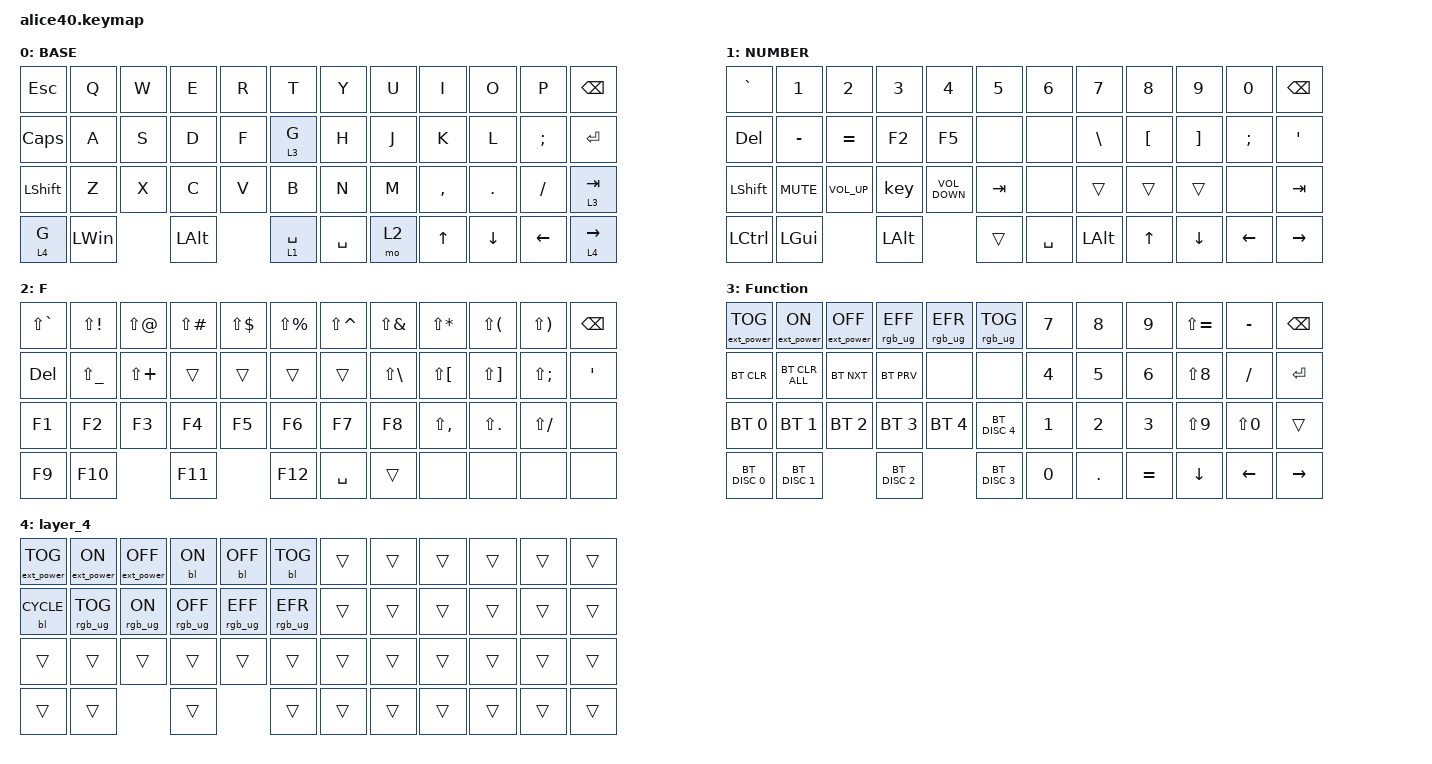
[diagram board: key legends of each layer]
#include <behaviors.dtsi>
#include <dt-bindings/zmk/backlight.h>
#include <dt-bindings/zmk/bt.h>
#include <dt-bindings/zmk/ext_power.h>
#include <dt-bindings/zmk/keys.h>
#include <dt-bindings/zmk/rgb.h>

/ {
    combos {
        compatible = "zmk,combos";

        home {
            bindings = <&none>;
            key-positions = <3 4>;
        };

        end {
            bindings = <&none>;
            key-positions = <15 16>;
        };

        pu {
            bindings = <&none>;
            key-positions = <7 8>;
        };

        pd {
            bindings = <&none>;
            key-positions = <19 20>;
        };
    };

    macros {
        key: new_macro {
            compatible = "zmk,behavior-macro";
            #binding-cells = <0>;
            bindings = <&kp LS(C) &kp H &kp L &kp DOT &kp N8 &kp N8 &kp N0 &kp N6 &kp N0 &kp N2 &kp EXCL &kp AT &kp POUND &kp DLLR &kp PRCNT &kp ENTER>;
            label = "NEW_MACRO";
            wait-ms = <10>;
        };
    };

    keymap {
        compatible = "zmk,keymap";

        Base_layer {
            label = "BASE";
            bindings = <
&kp ESC       &kp Q         &kp W  &kp E         &kp R  &kp T        &kp Y      &kp U  &kp I         &kp O     &kp P          &kp BACKSPACE
&kp CAPSLOCK  &kp A         &kp S  &kp D         &kp F  &lt 3 G      &kp H      &kp J  &kp K         &kp L     &kp SEMICOLON  &kp ENTER
&kp LSHIFT    &kp Z         &kp X  &kp C         &kp V  &kp B        &kp N      &kp M  &kp COMMA     &kp DOT   &kp FSLH       &lt 3 TAB
&lt 4 G       &kp LEFT_WIN         &kp LEFT_ALT         &lt 1 SPACE  &kp SPACE  &mo 2  &kp UP_ARROW  &kp DOWN  &kp LEFT       &lt 4 RIGHT_ARROW
            >;
        };

        Number_layer {
            bindings = <
&kp GRAVE  &kp NUMBER_1  &kp N2        &kp N3    &kp N4             &kp N5   &kp N6     &kp N7    &kp N8        &kp N9    &kp N0    &kp BSPC
&kp DEL    &kp MINUS     &kp EQUAL     &kp F2    &kp F5             &none    &none      &kp BSLH  &kp LBKT      &kp RBKT  &kp SEMI  &kp APOS
&kp LSHFT  &kp K_MUTE    &kp K_VOL_UP  &key      &kp K_VOLUME_DOWN  &kp TAB  &none      &trans    &trans        &trans    &none     &kp TAB
&kp LCTRL  &kp LGUI                    &kp LALT                     &trans   &kp SPACE  &kp LALT  &kp UP_ARROW  &kp DOWN  &kp LEFT  &kp RIGHT
            >;

            label = "NUMBER";
        };

        F_layer {
            bindings = <
&kp LS(GRAVE)  &kp LS(EXCL)   &kp LS(AT)    &kp LS(POUND)  &kp LS(DLLR)  &kp LS(PRCNT)  &kp LS(CARET)  &kp LS(AMPS)  &kp LS(STAR)   &kp LS(LPAR)  &kp LS(RPAR)  &kp BSPC
&kp DEL        &kp LS(UNDER)  &kp LS(PLUS)  &trans         &trans        &trans         &trans         &kp LS(BSLH)  &kp LS(LBKT)   &kp LS(RBKT)  &kp LS(SEMI)  &kp APOS
&kp F1         &kp F2         &kp F3        &kp F4         &kp F5        &kp F6         &kp F7         &kp F8        &kp LS(COMMA)  &kp LS(DOT)   &kp LS(FSLH)  &none
&kp F9         &kp F10                      &kp F11                      &kp F12        &kp SPACE      &trans        &none          &none         &none         &none
            >;

            label = "F";
        };

        Function_layer {
            bindings = <
&ext_power EP_TOG  &ext_power EP_ON  &ext_power EP_OFF  &rgb_ug RGB_EFF  &rgb_ug RGB_EFR  &rgb_ug RGB_TOG  &kp N7  &kp N8      &kp N9     &kp LS(EQUAL)   &kp MINUS       &kp BSPC
&bt BT_CLR         &bt BT_CLR_ALL    &bt BT_NXT         &bt BT_PRV       &none            &none            &kp N4  &kp N5      &kp N6     &kp LS(N8)      &kp FSLH        &kp ENTER
&bt BT_SEL 0       &bt BT_SEL 1      &bt BT_SEL 2       &bt BT_SEL 3     &bt BT_SEL 4     &bt BT_DISC 4    &kp N1  &kp N2      &kp N3     &kp LS(N9)      &kp LS(N0)      &trans
&bt BT_DISC 0      &bt BT_DISC 1                        &bt BT_DISC 2                     &bt BT_DISC 3    &kp N0  &kp PERIOD  &kp EQUAL  &kp DOWN_ARROW  &kp LEFT_ARROW  &kp RIGHT_ARROW
            >;

            label = "Function";
        };

        layer_4 {
            bindings = <
&ext_power EP_TOG  &ext_power EP_ON  &ext_power EP_OFF  &bl BL_ON        &bl BL_OFF       &bl BL_TOG       &trans  &trans  &trans  &trans  &trans  &trans
&bl BL_CYCLE       &rgb_ug RGB_TOG   &rgb_ug RGB_ON     &rgb_ug RGB_OFF  &rgb_ug RGB_EFF  &rgb_ug RGB_EFR  &trans  &trans  &trans  &trans  &trans  &trans
&trans             &trans            &trans             &trans           &trans           &trans           &trans  &trans  &trans  &trans  &trans  &trans
&trans             &trans                               &trans                            &trans           &trans  &trans  &trans  &trans  &trans  &trans
            >;
        };
    };
};
